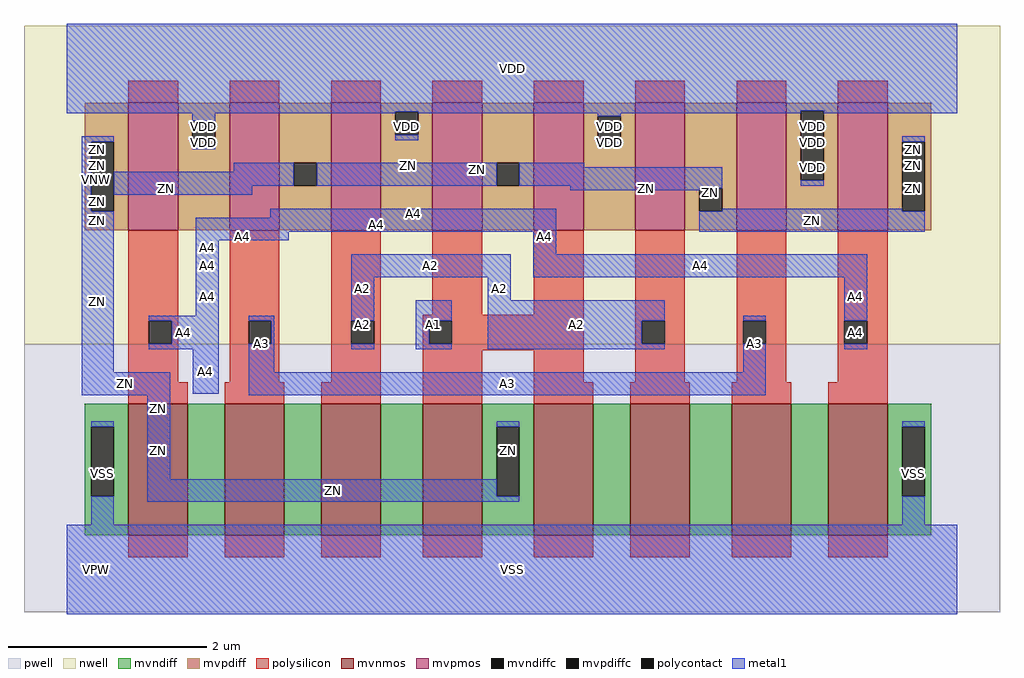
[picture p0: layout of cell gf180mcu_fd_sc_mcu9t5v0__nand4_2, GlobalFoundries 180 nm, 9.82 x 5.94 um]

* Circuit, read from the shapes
.subckt gf180mcu_fd_sc_mcu9t5v0__nand4_2 A1 A2 A3 A4 ZN VDD VNW VPW VSS
XM1 n1 A4 VSS VPW nfet_06v0 w=1.32u l=0.6u
XM2 n2 A3 n1 VPW nfet_06v0 w=1.32u l=0.6u
XM3 n3 A2 n2 VPW nfet_06v0 w=1.32u l=0.6u
XM4 ZN A1 n3 VPW nfet_06v0 w=1.32u l=0.6u
XM5 n4 A1 ZN VPW nfet_06v0 w=1.32u l=0.6u
XM6 n5 A2 n4 VPW nfet_06v0 w=1.32u l=0.6u
XM7 n6 A3 n5 VPW nfet_06v0 w=1.32u l=0.6u
XM8 VSS A4 n6 VPW nfet_06v0 w=1.32u l=0.6u
XM9 VDD A4 ZN VNW pfet_06v0 w=1.28u l=0.5u m=2
XM10 ZN A3 VDD VNW pfet_06v0 w=1.28u l=0.5u m=2
XM11 VDD A2 ZN VNW pfet_06v0 w=1.28u l=0.5u m=2
XM12 ZN A1 VDD VNW pfet_06v0 w=1.28u l=0.5u m=2
.ends

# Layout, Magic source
magic
tech gf180mcuD
magscale 1 10
<< nwell >>
rect -86 453 1878 1094
<< pwell >>
rect -86 -86 1878 453
<< mvnmos >>
rect 124 69 244 333
rect 318 69 438 333
rect 512 69 632 333
rect 716 69 836 333
rect 940 69 1060 333
rect 1134 69 1254 333
rect 1338 69 1458 333
rect 1532 69 1652 333
<< mvpmos >>
rect 124 683 224 939
rect 328 683 428 939
rect 532 683 632 939
rect 736 683 836 939
rect 940 683 1040 939
rect 1144 683 1244 939
rect 1348 683 1448 939
rect 1552 683 1652 939
<< mvndiff >>
rect 36 287 124 333
rect 36 147 49 287
rect 95 147 124 287
rect 36 69 124 147
rect 244 69 318 333
rect 438 69 512 333
rect 632 69 716 333
rect 836 287 940 333
rect 836 147 865 287
rect 911 147 940 287
rect 836 69 940 147
rect 1060 69 1134 333
rect 1254 69 1338 333
rect 1458 69 1532 333
rect 1652 287 1740 333
rect 1652 147 1681 287
rect 1727 147 1740 287
rect 1652 69 1740 147
<< mvpdiff >>
rect 36 861 124 939
rect 36 721 49 861
rect 95 721 124 861
rect 36 683 124 721
rect 224 903 328 939
rect 224 857 253 903
rect 299 857 328 903
rect 224 683 328 857
rect 428 818 532 939
rect 428 772 457 818
rect 503 772 532 818
rect 428 683 532 772
rect 632 921 736 939
rect 632 875 661 921
rect 707 875 736 921
rect 632 683 736 875
rect 836 818 940 939
rect 836 772 865 818
rect 911 772 940 818
rect 836 683 940 772
rect 1040 912 1144 939
rect 1040 866 1069 912
rect 1115 866 1144 912
rect 1040 683 1144 866
rect 1244 767 1348 939
rect 1244 721 1273 767
rect 1319 721 1348 767
rect 1244 683 1348 721
rect 1448 923 1552 939
rect 1448 783 1477 923
rect 1523 783 1552 923
rect 1448 683 1552 783
rect 1652 861 1740 939
rect 1652 721 1681 861
rect 1727 721 1740 861
rect 1652 683 1740 721
<< mvndiffc >>
rect 49 147 95 287
rect 865 147 911 287
rect 1681 147 1727 287
<< mvpdiffc >>
rect 49 721 95 861
rect 253 857 299 903
rect 457 772 503 818
rect 661 875 707 921
rect 865 772 911 818
rect 1069 866 1115 912
rect 1273 721 1319 767
rect 1477 783 1523 923
rect 1681 721 1727 861
<< polysilicon >>
rect 124 939 224 983
rect 328 939 428 983
rect 532 939 632 983
rect 736 939 836 983
rect 940 939 1040 983
rect 1144 939 1244 983
rect 1348 939 1448 983
rect 1552 939 1652 983
rect 124 500 224 683
rect 124 454 165 500
rect 211 454 224 500
rect 124 377 224 454
rect 328 500 428 683
rect 328 454 366 500
rect 412 454 428 500
rect 328 377 428 454
rect 532 500 632 683
rect 736 513 836 683
rect 940 513 1040 683
rect 532 454 573 500
rect 619 454 632 500
rect 532 377 632 454
rect 124 333 244 377
rect 318 333 438 377
rect 512 333 632 377
rect 716 500 1040 513
rect 716 454 729 500
rect 775 454 1040 500
rect 716 441 1040 454
rect 716 333 836 441
rect 940 377 1040 441
rect 1144 500 1244 683
rect 1144 454 1157 500
rect 1203 454 1244 500
rect 1144 377 1244 454
rect 1348 500 1448 683
rect 1348 454 1361 500
rect 1407 454 1448 500
rect 1348 377 1448 454
rect 1552 500 1652 683
rect 1552 454 1565 500
rect 1611 454 1652 500
rect 1552 377 1652 454
rect 940 333 1060 377
rect 1134 333 1254 377
rect 1338 333 1458 377
rect 1532 333 1652 377
rect 124 25 244 69
rect 318 25 438 69
rect 512 25 632 69
rect 716 25 836 69
rect 940 25 1060 69
rect 1134 25 1254 69
rect 1338 25 1458 69
rect 1532 25 1652 69
<< polycontact >>
rect 165 454 211 500
rect 366 454 412 500
rect 573 454 619 500
rect 729 454 775 500
rect 1157 454 1203 500
rect 1361 454 1407 500
rect 1565 454 1611 500
<< metal1 >>
rect 0 923 1792 1098
rect 0 921 1477 923
rect 0 918 661 921
rect 253 903 299 918
rect 30 861 95 872
rect 30 721 49 861
rect 707 918 1477 921
rect 661 864 707 875
rect 1069 912 1115 918
rect 253 846 299 857
rect 1069 855 1115 866
rect 336 800 457 818
rect 95 772 457 800
rect 503 772 865 818
rect 911 809 1041 818
rect 911 772 1319 809
rect 1523 918 1792 923
rect 1477 772 1523 783
rect 1681 861 1727 872
rect 95 754 373 772
rect 1013 767 1319 772
rect 1013 763 1273 767
rect 30 397 95 721
rect 410 708 985 726
rect 260 680 985 708
rect 1319 721 1681 726
rect 1273 680 1727 721
rect 260 662 447 680
rect 260 511 306 662
rect 939 634 985 680
rect 573 588 893 634
rect 939 588 1611 634
rect 165 500 306 511
rect 211 454 306 500
rect 165 443 306 454
rect 30 351 208 397
rect 254 354 306 443
rect 366 500 418 511
rect 412 454 418 500
rect 366 397 418 454
rect 573 500 619 588
rect 847 542 893 588
rect 573 443 619 454
rect 702 500 775 542
rect 702 454 729 500
rect 702 443 775 454
rect 847 500 1203 542
rect 847 454 1157 500
rect 847 443 1203 454
rect 1361 500 1407 511
rect 1361 397 1407 454
rect 1565 500 1611 588
rect 1565 443 1611 454
rect 366 351 1407 397
rect 49 287 95 298
rect 49 90 95 147
rect 162 182 208 351
rect 865 287 911 298
rect 162 147 865 182
rect 162 136 911 147
rect 1681 287 1727 298
rect 1681 90 1727 147
rect 0 -90 1792 90
<< labels >>
flabel metal1 s 702 443 775 542 0 FreeSans 200 0 0 0 A1
port 1 nsew default input
flabel metal1 s 573 588 893 634 0 FreeSans 200 0 0 0 A2
port 2 nsew default input
flabel metal1 s 1361 397 1407 511 0 FreeSans 200 0 0 0 A3
port 3 nsew default input
flabel metal1 s 410 708 985 726 0 FreeSans 200 0 0 0 A4
port 4 nsew default input
flabel metal1 s 0 918 1792 1098 0 FreeSans 200 0 0 0 VDD
port 6 nsew power bidirectional abutment
flabel metal1 s 1681 90 1727 298 0 FreeSans 200 0 0 0 VSS
port 9 nsew ground bidirectional abutment
flabel metal1 s 1681 818 1727 872 0 FreeSans 200 0 0 0 ZN
port 5 nsew default output
flabel nwell s 10 734 110 834 0 FreeSans 400 0 0 0 VNW
port 7 nsew power bidirectional
flabel pwell s 10 -50 110 50 0 FreeSans 400 0 0 0 VPW
port 8 nsew ground bidirectional
rlabel metal1 s 847 542 893 588 1 A2
port 2 nsew default input
rlabel metal1 s 573 542 619 588 1 A2
port 2 nsew default input
rlabel metal1 s 847 443 1203 542 1 A2
port 2 nsew default input
rlabel metal1 s 573 443 619 542 1 A2
port 2 nsew default input
rlabel metal1 s 366 397 418 511 1 A3
port 3 nsew default input
rlabel metal1 s 366 351 1407 397 1 A3
port 3 nsew default input
rlabel metal1 s 260 680 985 708 1 A4
port 4 nsew default input
rlabel metal1 s 939 662 985 680 1 A4
port 4 nsew default input
rlabel metal1 s 260 662 447 680 1 A4
port 4 nsew default input
rlabel metal1 s 939 634 985 662 1 A4
port 4 nsew default input
rlabel metal1 s 260 634 306 662 1 A4
port 4 nsew default input
rlabel metal1 s 939 588 1611 634 1 A4
port 4 nsew default input
rlabel metal1 s 260 588 306 634 1 A4
port 4 nsew default input
rlabel metal1 s 1565 511 1611 588 1 A4
port 4 nsew default input
rlabel metal1 s 260 511 306 588 1 A4
port 4 nsew default input
rlabel metal1 s 1565 443 1611 511 1 A4
port 4 nsew default input
rlabel metal1 s 165 443 306 511 1 A4
port 4 nsew default input
rlabel metal1 s 254 354 306 443 1 A4
port 4 nsew default input
rlabel metal1 s 30 818 95 872 1 ZN
port 5 nsew default output
rlabel metal1 s 1681 809 1727 818 1 ZN
port 5 nsew default output
rlabel metal1 s 336 809 1041 818 1 ZN
port 5 nsew default output
rlabel metal1 s 30 809 95 818 1 ZN
port 5 nsew default output
rlabel metal1 s 1681 800 1727 809 1 ZN
port 5 nsew default output
rlabel metal1 s 336 800 1319 809 1 ZN
port 5 nsew default output
rlabel metal1 s 30 800 95 809 1 ZN
port 5 nsew default output
rlabel metal1 s 1681 772 1727 800 1 ZN
port 5 nsew default output
rlabel metal1 s 30 772 1319 800 1 ZN
port 5 nsew default output
rlabel metal1 s 1681 763 1727 772 1 ZN
port 5 nsew default output
rlabel metal1 s 1013 763 1319 772 1 ZN
port 5 nsew default output
rlabel metal1 s 30 763 373 772 1 ZN
port 5 nsew default output
rlabel metal1 s 1681 754 1727 763 1 ZN
port 5 nsew default output
rlabel metal1 s 1273 754 1319 763 1 ZN
port 5 nsew default output
rlabel metal1 s 30 754 373 763 1 ZN
port 5 nsew default output
rlabel metal1 s 1681 726 1727 754 1 ZN
port 5 nsew default output
rlabel metal1 s 1273 726 1319 754 1 ZN
port 5 nsew default output
rlabel metal1 s 30 726 95 754 1 ZN
port 5 nsew default output
rlabel metal1 s 1273 680 1727 726 1 ZN
port 5 nsew default output
rlabel metal1 s 30 680 95 726 1 ZN
port 5 nsew default output
rlabel metal1 s 30 397 95 680 1 ZN
port 5 nsew default output
rlabel metal1 s 30 351 208 397 1 ZN
port 5 nsew default output
rlabel metal1 s 162 298 208 351 1 ZN
port 5 nsew default output
rlabel metal1 s 865 182 911 298 1 ZN
port 5 nsew default output
rlabel metal1 s 162 182 208 298 1 ZN
port 5 nsew default output
rlabel metal1 s 162 136 911 182 1 ZN
port 5 nsew default output
rlabel metal1 s 1477 864 1523 918 1 VDD
port 6 nsew power bidirectional abutment
rlabel metal1 s 1069 864 1115 918 1 VDD
port 6 nsew power bidirectional abutment
rlabel metal1 s 661 864 707 918 1 VDD
port 6 nsew power bidirectional abutment
rlabel metal1 s 253 864 299 918 1 VDD
port 6 nsew power bidirectional abutment
rlabel metal1 s 1477 855 1523 864 1 VDD
port 6 nsew power bidirectional abutment
rlabel metal1 s 1069 855 1115 864 1 VDD
port 6 nsew power bidirectional abutment
rlabel metal1 s 253 855 299 864 1 VDD
port 6 nsew power bidirectional abutment
rlabel metal1 s 1477 846 1523 855 1 VDD
port 6 nsew power bidirectional abutment
rlabel metal1 s 253 846 299 855 1 VDD
port 6 nsew power bidirectional abutment
rlabel metal1 s 1477 772 1523 846 1 VDD
port 6 nsew power bidirectional abutment
rlabel metal1 s 49 90 95 298 1 VSS
port 9 nsew ground bidirectional abutment
rlabel metal1 s 0 -90 1792 90 1 VSS
port 9 nsew ground bidirectional abutment
<< properties >>
string FIXED_BBOX 0 0 1792 1008
string GDS_END 66554
string GDS_FILE $PDKPATH/libs.ref/gf180mcu_fd_sc_mcu9t5v0/gds/gf180mcu_fd_sc_mcu9t5v0.gds
string GDS_START 61738
string LEFclass core
string LEFsite GF018hv5v_green_sc9
string LEFsymmetry X Y
<< end >>
